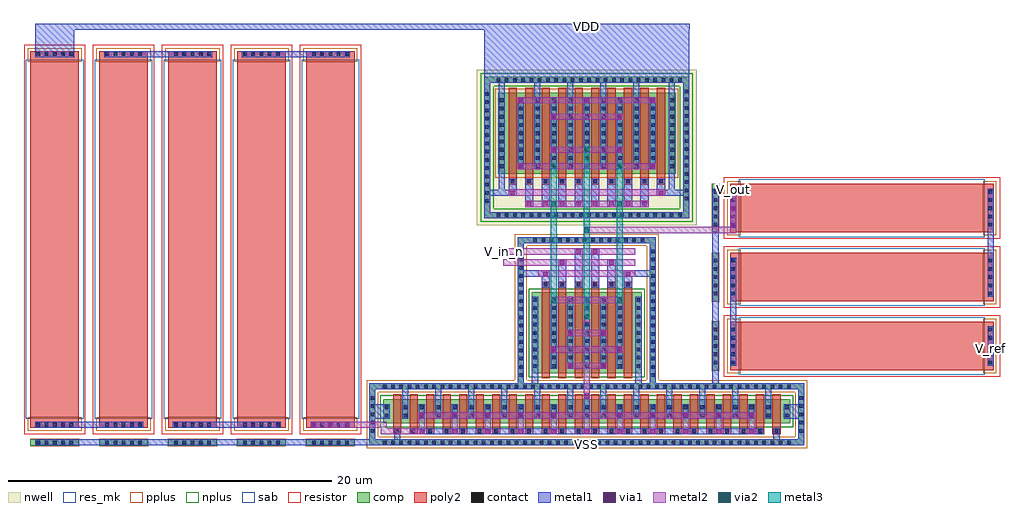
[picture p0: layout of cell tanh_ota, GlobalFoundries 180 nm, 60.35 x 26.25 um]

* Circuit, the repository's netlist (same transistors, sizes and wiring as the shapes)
* NGSPICE file created from tanh_ota.ext - technology: gf180mcuD

.subckt tanh_ota V_ref VDD VSS V_out V_in_n V_in_p
X0 VDD a_6626_3940# a_6626_3940# VDD pfet_03v3 ad=1.3p pd=5.52u as=1.3p ps=5.52u w=5u l=0.5u
X1 a_1466_5327# a_614_799# VSS ppolyf_u_1k r_width=3u r_length=22u
X2 VSS a_4022_799# a_4022_799# VSS nfet_03v3 ad=0.39p pd=2.02u as=0.39p ps=2.02u w=1.5u l=0.5u
X3 a_6626_3940# a_6626_3940# VDD VDD pfet_03v3 ad=1.3p pd=5.52u as=1.3p ps=5.52u w=5u l=0.5u
X4 V_out V_in_n a_7238_1471# VSS nfet_03v3 ad=1.3p pd=5.52u as=1.3p ps=5.52u w=5u l=0.5u
X5 VSS a_4022_799# a_4022_799# VSS nfet_03v3 ad=0.39p pd=2.02u as=0.39p ps=2.02u w=1.5u l=0.5u
X6 a_3170_5327# a_2318_799# VSS ppolyf_u_1k r_width=3u r_length=22u
X7 a_4022_799# a_4022_799# VSS VSS nfet_03v3 ad=0.39p pd=2.02u as=0.39p ps=2.02u w=1.5u l=0.5u
X8 VSS a_4022_799# a_4022_799# VSS nfet_03v3 ad=0.39p pd=2.02u as=0.39p ps=2.02u w=1.5u l=0.5u
X9 V_out a_12396_2361# VSS ppolyf_u_1k r_width=3u r_length=15u
X10 VSS a_4022_799# a_4022_799# VSS nfet_03v3 ad=0.39p pd=2.02u as=0.39p ps=2.02u w=1.5u l=0.5u
X11 VDD a_614_799# VSS ppolyf_u_1k r_width=3u r_length=22u
X12 a_6626_3940# VDD VDD VDD pfet_03v3 ad=1.3p pd=5.52u as=3.25p ps=11.3u w=5u l=0.5u
X13 a_7238_1471# a_4022_799# VSS VSS nfet_03v3 ad=0.39p pd=2.02u as=0.39p ps=2.02u w=1.5u l=0.5u
X14 V_out a_6626_3940# VDD VDD pfet_03v3 ad=1.3p pd=5.52u as=1.3p ps=5.52u w=5u l=0.5u
X15 VDD a_6626_3940# V_out VDD pfet_03v3 ad=1.3p pd=5.52u as=1.3p ps=5.52u w=5u l=0.5u
X16 a_7238_1471# V_in_p a_6626_3940# VSS nfet_03v3 ad=1.3p pd=5.52u as=1.3p ps=5.52u w=5u l=0.5u
X17 a_6626_3940# V_in_p a_7238_1471# VSS nfet_03v3 ad=1.3p pd=5.52u as=1.3p ps=5.52u w=5u l=0.5u
X18 a_4022_799# a_4022_799# VSS VSS nfet_03v3 ad=0.39p pd=2.02u as=0.39p ps=2.02u w=1.5u l=0.5u
X19 VSS a_4022_799# a_7238_1471# VSS nfet_03v3 ad=0.39p pd=2.02u as=0.39p ps=2.02u w=1.5u l=0.5u
X20 VDD VDD a_6626_3940# VDD pfet_03v3 ad=3.25p pd=11.3u as=1.3p ps=5.52u w=5u l=0.5u
X21 VSS VSS VSS VSS nfet_03v3 ad=0.915p pd=4.22u as=17.29p ps=79.36u w=1.5u l=0.5u
X22 a_4022_799# a_4022_799# VSS VSS nfet_03v3 ad=0.39p pd=2.02u as=0.39p ps=2.02u w=1.5u l=0.5u
X23 a_4022_799# a_4022_799# VSS VSS nfet_03v3 ad=0.39p pd=2.02u as=0.39p ps=2.02u w=1.5u l=0.5u
X24 V_out a_6626_3940# VDD VDD pfet_03v3 ad=1.3p pd=5.52u as=1.3p ps=5.52u w=5u l=0.5u
X25 a_6626_3940# VSS VSS VSS nfet_03v3 ad=1.3p pd=5.52u as=3.05p ps=11.22u w=5u l=0.5u
X26 VSS a_4022_799# a_4022_799# VSS nfet_03v3 ad=0.39p pd=2.02u as=0.39p ps=2.02u w=1.5u l=0.5u
X27 VDD a_6626_3940# a_6626_3940# VDD pfet_03v3 ad=1.3p pd=5.52u as=1.3p ps=5.52u w=5u l=0.5u
X28 VSS a_4022_799# a_4022_799# VSS nfet_03v3 ad=0.39p pd=2.02u as=0.39p ps=2.02u w=1.5u l=0.5u
X29 a_7238_1471# V_in_n V_out VSS nfet_03v3 ad=1.3p pd=5.52u as=1.3p ps=5.52u w=5u l=0.5u
X30 a_4022_799# a_4022_799# VSS VSS nfet_03v3 ad=0.39p pd=2.02u as=0.39p ps=2.02u w=1.5u l=0.5u
X31 a_6626_3940# a_6626_3940# VDD VDD pfet_03v3 ad=1.3p pd=5.52u as=1.3p ps=5.52u w=5u l=0.5u
X32 a_9268_1509# V_ref VSS ppolyf_u_1k r_width=3u r_length=15u
X33 VSS a_4022_799# a_4022_799# VSS nfet_03v3 ad=0.39p pd=2.02u as=0.39p ps=2.02u w=1.5u l=0.5u
X34 a_1466_5327# a_2318_799# VSS ppolyf_u_1k r_width=3u r_length=22u
X35 a_9268_1509# a_12396_2361# VSS ppolyf_u_1k r_width=3u r_length=15u
X36 VSS a_4022_799# a_4022_799# VSS nfet_03v3 ad=0.39p pd=2.02u as=0.39p ps=2.02u w=1.5u l=0.5u
X37 a_4022_799# a_4022_799# VSS VSS nfet_03v3 ad=0.39p pd=2.02u as=0.39p ps=2.02u w=1.5u l=0.5u
X38 a_4022_799# a_4022_799# VSS VSS nfet_03v3 ad=0.39p pd=2.02u as=0.39p ps=2.02u w=1.5u l=0.5u
X39 a_3170_5327# a_4022_799# VSS ppolyf_u_1k r_width=3u r_length=22u
X40 VDD a_6626_3940# V_out VDD pfet_03v3 ad=1.3p pd=5.52u as=1.3p ps=5.52u w=5u l=0.5u
X41 VSS VSS a_6626_3940# VSS nfet_03v3 ad=3.05p pd=11.22u as=1.3p ps=5.52u w=5u l=0.5u
X42 a_4022_799# a_4022_799# VSS VSS nfet_03v3 ad=0.39p pd=2.02u as=0.39p ps=2.02u w=1.5u l=0.5u
X43 VSS a_4022_799# a_4022_799# VSS nfet_03v3 ad=0.39p pd=2.02u as=0.39p ps=2.02u w=1.5u l=0.5u
X44 VSS a_4022_799# a_4022_799# VSS nfet_03v3 ad=0.39p pd=2.02u as=0.39p ps=2.02u w=1.5u l=0.5u
X45 a_4022_799# a_4022_799# VSS VSS nfet_03v3 ad=0.39p pd=2.02u as=0.39p ps=2.02u w=1.5u l=0.5u
X46 VSS VSS VSS VSS nfet_03v3 ad=0.39p pd=2.02u as=0 ps=0 w=1.5u l=0.5u
X47 a_4022_799# a_4022_799# VSS VSS nfet_03v3 ad=0.39p pd=2.02u as=0.39p ps=2.02u w=1.5u l=0.5u
.ends

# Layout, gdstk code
from math import pi, radians
import gdstk
lib = gdstk.Library(unit=1e-6, precision=5e-09)
def R(c, l, rs):  # rectangles x0, y0, x1, y1
    for r in rs: c.add(gdstk.rectangle(r[:2], r[2:], *l))
def A(c, l, x, y, w, h, nx, ny, dx, dy):  # array of equal rectangles
    R(c, l, [(x+i*dx, y+j*dy, x+i*dx+w, y+j*dy+h) for i in range(nx) for j in range(ny)])
def P(c, l, *ps):  # polygons
    for p in ps: c.add(gdstk.Polygon(p, *l))
nwell = (21, 0)
comp = (22, 0)
poly2 = (30, 0)
pplus = (31, 0)
nplus = (32, 0)
contact = (33, 0)
metal1 = (34, 0)
via1 = (35, 0)
metal2 = (36, 0)
via2 = (38, 0)
metal3 = (42, 0)
sab = (49, 0)
resistor = (62, 0)
res_mk = (110, 5)

nfet = lib.new_cell('nfet')
R(nfet, comp, [(-0.42,0,0,1.5), (0,0,24.34,1.5), (24.34,0,24.76,1.5)])
P(nfet, comp, [(-1.28,-1.36),(-1.28,2.11),(-0.9,2.11),(-0.9,-0.98),(25.24,-0.98),(25.24,2.11),(-1.28,2.11),(-1.28,2.49),(25.62,2.49),(25.62,-1.36)])
A(nfet, poly2, 0.19, -0.66, 0.5, 0.36, 24, 1, 1.02, 0)
A(nfet, poly2, 0.19, -0.3, 0.5, 2.1, 24, 1, 1.02, 0)
P(nfet, pplus, [(-1.45,-1.53),(-1.45,1.94),(-0.73,1.94),(-0.73,-0.81),(25.07,-0.81),(25.07,1.94),(-1.45,1.94),(-1.45,2.66),(25.79,2.66),(25.79,-1.53)])
R(nfet, nplus, [(-0.59,-0.24,24.93,1.74)])
A(nfet, contact, -0.435, -1.28, 0.22, 0.22, 50, 2, 0.51, 3.47)
A(nfet, contact, 0.33, -0.59, 0.22, 0.22, 24, 1, 1.02, 0)
A(nfet, contact, -1.2, -0.565, 0.22, 0.22, 1, 5, 0, 0.51)
A(nfet, contact, 25.32, -0.565, 0.22, 0.22, 1, 5, 0, 0.51)
A(nfet, contact, 0.84, 0.385, 0.22, 0.22, 23, 2, 1.02, 0.51)
R(nfet, contact, [(-0.32,0.385,-0.1,0.605), (24.44,0.385,24.66,0.605), (-0.32,0.895,-0.1,1.115), (24.44,0.895,24.66,1.115)])
A(nfet, metal1, 0.25, -0.67, 0.38, 0.38, 24, 1, 1.02, 0)
A(nfet, metal1, 0.76, 0.305, 0.38, 0.89, 23, 1, 1.02, 0)
R(nfet, metal1, [(-0.4,0.305,-0.02,1.195), (24.36,0.305,24.74,1.195)])

ppolyf_u_high_rs_resisto = lib.new_cell('ppolyf_u_high_Rs_resistor')
R(ppolyf_u_high_rs_resisto, comp, [(-1.76,0,-1.34,3)])
R(ppolyf_u_high_rs_resisto, poly2, [(-0.64,0,22.64,3)])
R(ppolyf_u_high_rs_resisto, pplus, [(-0.82,-0.18,0,3.18), (22,-0.18,22.82,3.18), (-1.78,-0.02,-1.32,3.02)])
A(ppolyf_u_high_rs_resisto, contact, -1.66, 0.37, 0.22, 0.22, 1, 5, 0, 0.51)
A(ppolyf_u_high_rs_resisto, contact, -0.57, 0.37, 0.22, 0.22, 1, 5, 0, 0.51)
A(ppolyf_u_high_rs_resisto, contact, 22.35, 0.37, 0.22, 0.22, 1, 5, 0, 0.51)
R(ppolyf_u_high_rs_resisto, metal1, [(-1.74,0.29,-1.36,2.71), (-0.65,0.29,-0.27,2.71), (22.27,0.29,22.65,2.71)])
R(ppolyf_u_high_rs_resisto, sab, [(-0.1,-0.28,22.1,3.28)])
R(ppolyf_u_high_rs_resisto, resistor, [(-1.04,-0.4,23.04,3.4)])
R(ppolyf_u_high_rs_resisto, res_mk, [(0,0,22,3)])

c_ppolyf_u_high_rs_resisto = lib.new_cell('ppolyf_u_high_Rs_resistor$2')
R(c_ppolyf_u_high_rs_resisto, comp, [(-1.76,0,-1.34,3)])
R(c_ppolyf_u_high_rs_resisto, poly2, [(-0.64,0,15.64,3)])
R(c_ppolyf_u_high_rs_resisto, pplus, [(-0.82,-0.18,0,3.18), (15,-0.18,15.82,3.18), (-1.78,-0.02,-1.32,3.02)])
A(c_ppolyf_u_high_rs_resisto, contact, -1.66, 0.37, 0.22, 0.22, 1, 5, 0, 0.51)
A(c_ppolyf_u_high_rs_resisto, contact, -0.57, 0.37, 0.22, 0.22, 1, 5, 0, 0.51)
A(c_ppolyf_u_high_rs_resisto, contact, 15.35, 0.37, 0.22, 0.22, 1, 5, 0, 0.51)
R(c_ppolyf_u_high_rs_resisto, metal1, [(-1.74,0.29,-1.36,2.71), (-0.65,0.29,-0.27,2.71), (15.27,0.29,15.65,2.71)])
R(c_ppolyf_u_high_rs_resisto, sab, [(-0.1,-0.28,15.1,3.28)])
R(c_ppolyf_u_high_rs_resisto, resistor, [(-1.04,-0.4,16.04,3.4)])
R(c_ppolyf_u_high_rs_resisto, res_mk, [(0,0,15,3)])

tanh_ota = lib.new_cell('tanh_ota')
R(tanh_ota, nwell, [(30.68,16.51,44.26,26.13)])
R(tanh_ota, comp, [(34.06,7.355,34.48,12.355), (34.48,7.355,40.46,12.355), (40.46,7.355,40.88,12.355), (31.98,19.7,32.44,24.7), (32.44,19.7,42.5,24.7), (42.5,19.7,42.96,24.7)])
P(tanh_ota, comp, [(33.2,6.365),(33.2,15.405),(33.58,15.405),(33.58,6.745),(41.36,6.745),(41.36,15.405),(33.2,15.405),(33.2,15.785),(41.74,15.785),(41.74,6.365)],
  [(31.12,16.95),(31.12,25.31),(31.5,25.31),(31.5,17.33),(43.44,17.33),(43.44,25.31),(31.12,25.31),(31.12,25.69),(43.82,25.69),(43.82,16.95)])
A(tanh_ota, poly2, 34.67, 7.055, 0.5, 5.6, 6, 1, 1.02, 0)
A(tanh_ota, poly2, 34.67, 12.655, 0.5, 0.36, 6, 1, 1.02, 0)
A(tanh_ota, poly2, 32.63, 19.02, 0.5, 0.38, 10, 1, 1.02, 0)
A(tanh_ota, poly2, 32.63, 19.4, 0.5, 5.6, 10, 1, 1.02, 0)
R(tanh_ota, pplus, [(31.81,19.46,43.13,24.94)])
P(tanh_ota, pplus, [(33.03,6.195),(33.03,15.235),(33.75,15.235),(33.75,6.915),(41.19,6.915),(41.19,15.235),(33.03,15.235),(33.03,15.955),(41.91,15.955),(41.91,6.195)])
R(tanh_ota, nplus, [(33.89,7.115,41.05,12.595)])
A(tanh_ota, contact, 34.045, 6.445, 0.22, 0.22, 14, 1, 0.51, 0)
A(tanh_ota, contact, 33.28, 7.14, 0.22, 0.22, 1, 16, 0, 0.51)
A(tanh_ota, contact, 41.44, 7.14, 0.22, 0.22, 1, 16, 0, 0.51)
A(tanh_ota, contact, 34.16, 7.705, 0.22, 0.22, 1, 9, 0, 0.51)
A(tanh_ota, contact, 35.32, 7.705, 0.22, 0.22, 5, 9, 1.02, 0.51)
A(tanh_ota, contact, 40.56, 7.705, 0.22, 0.22, 1, 9, 0, 0.51)
A(tanh_ota, contact, 34.81, 12.725, 0.22, 0.22, 6, 1, 1.02, 0)
A(tanh_ota, contact, 34.17, 15.485, 0.22, 0.22, 14, 1, 0.51, 0)
A(tanh_ota, contact, 31.895, 17.03, 0.22, 0.22, 23, 2, 0.51, 8.36)
A(tanh_ota, contact, 31.2, 17.895, 0.22, 0.22, 1, 14, 0, 0.51)
A(tanh_ota, contact, 43.52, 18.045, 0.22, 0.22, 1, 14, 0, 0.51)
A(tanh_ota, contact, 32.77, 19.1, 0.22, 0.22, 10, 1, 1.02, 0)
A(tanh_ota, contact, 32.1, 20.05, 0.22, 0.22, 1, 9, 0, 0.51)
A(tanh_ota, contact, 33.28, 20.05, 0.22, 0.22, 9, 9, 1.02, 0.51)
A(tanh_ota, contact, 42.62, 20.05, 0.22, 0.22, 1, 9, 0, 0.51)
A(tanh_ota, metal1, 35.24, 7.625, 0.38, 4.46, 5, 1, 1.02, 0)
A(tanh_ota, metal1, 34.73, 12.645, 0.38, 0.38, 6, 1, 1.02, 0)
A(tanh_ota, metal1, 33.65, 17.64, 0.5, 1.76, 8, 1, 1.02, 0)
A(tanh_ota, metal1, 32.69, 19.02, 0.38, 0.38, 10, 1, 1.02, 0)
A(tanh_ota, metal1, 33.2, 19.97, 0.38, 4.46, 9, 1, 1.02, 0)
R(tanh_ota, metal1, [(3.36,2.895,22.82,3.275), (25.55,3.275,25.93,3.965), (49.01,3.275,49.39,3.965), (26.57,3.585,48.37,3.965), (3.36,3.985,10.04,4.365), (11.88,3.985,18.56,4.365), (24.02,4.56,25.28,5.45), (49.66,4.56,50.92,5.45), (34.08,7.625,34.46,12.085), (40.48,7.625,40.86,12.085), (45.24,7.835,45.62,18.775), (46.33,7.835,46.71,14.515), (62.25,12.095,62.63,18.775), (34.67,12.645,35.17,13.715), (35.69,12.645,36.19,14.405), (36.71,12.645,37.21,15.095), (37.73,12.645,38.23,15.095), (38.75,12.645,39.25,14.405), (39.77,12.645,40.27,13.715), (32.63,18.33,33.13,19.4), (41.81,18.33,42.31,19.4), (32.02,19.97,32.4,24.43), (42.54,19.97,42.92,24.43), (31.12,25.31,43.82,28.97), (3.36,26.905,5.78,28.97), (7.62,26.905,14.3,27.285), (16.14,26.905,22.82,27.285)])
A(tanh_ota, via1, 27.14, 3.65, 0.26, 0.26, 6, 1, 2.04, 0)
A(tanh_ota, via1, 39.385, 3.65, 0.26, 0.26, 5, 1, 2.04, 0)
A(tanh_ota, via1, 20.46, 4.045, 0.26, 0.26, 3, 1, 1.02, 0)
A(tanh_ota, via1, 27.14, 4.62, 0.26, 0.26, 5, 1, 2.04, 0)
A(tanh_ota, via1, 39.38, 4.62, 0.26, 0.26, 5, 1, 2.04, 0)
A(tanh_ota, via1, 46.39, 16.395, 0.26, 0.26, 1, 3, 0, 1.02)
A(tanh_ota, via1, 33.77, 17.71, 0.26, 0.26, 8, 1, 1.02, 0)
A(tanh_ota, via1, 33.26, 20.03, 0.26, 0.26, 3, 2, 4.08, 4.085)
R(tanh_ota, via1, [(37.34,5.8,37.6,6.06), (36.32,7.685,36.58,7.945), (38.36,7.685,38.62,7.945), (35.3,8.705,35.56,8.965), (39.375,8.705,39.635,8.965), (36.32,9.72,36.58,9.98), (38.36,9.72,38.62,9.98), (37.34,10.745,37.6,11.005), (35.3,11.765,35.56,12.025), (39.375,11.765,39.635,12.025), (34.79,13.385,35.05,13.645), (39.89,13.385,40.15,13.645), (35.81,14.075,36.07,14.335), (38.87,14.075,39.13,14.335), (36.83,14.765,37.09,15.025), (37.85,14.765,38.11,15.025), (32.75,18.4,33.01,18.66), (41.93,18.4,42.19,18.66), (35.3,21.055,35.56,21.315), (39.375,21.055,39.635,21.315), (35.305,23.09,35.565,23.35), (39.38,23.09,39.64,23.35)])
A(tanh_ota, metal2, 27.08, 3.585, 0.38, 1.355, 6, 1, 2.04, 0)
A(tanh_ota, metal2, 39.325, 3.585, 0.38, 1.355, 5, 1, 2.04, 0)
R(tanh_ota, metal2, [(37.28,10.51,37.66,11.275), (34.48,13.315,40.475,13.715), (32.295,14.005,40.475,14.405), (32.295,14.695,40.475,15.095), (33.65,17.64,41.29,18.04), (32.63,18.33,42.31,18.73)])
R(tanh_ota, via2, [(37.34,10.745,37.6,11.005), (35.295,11.765,35.555,12.025), (39.375,11.765,39.635,12.025), (37.34,16.09,37.6,16.35), (35.3,17.71,35.56,17.97), (39.38,17.71,39.64,17.97), (35.3,20.03,35.56,20.29), (39.38,20.03,39.64,20.29), (37.34,21.05,37.6,21.31)])
tanh_ota.add(gdstk.FlexPath([(50.73,3.69),(50.73,6.555),(24.21,6.555),(24.21,3.085),(50.73,3.085),(50.73,3.69)], 0.38, ends="flush", simple_path=True, layer=34, datatype=0))  # metal1
tanh_ota.add(gdstk.FlexPath([(33.39,7.14),(33.39,15.595),(41.55,15.595),(41.55,6.745)], 0.38, ends="flush", simple_path=True, layer=34, datatype=0))  # metal1
tanh_ota.add(gdstk.FlexPath([(33.39,7.14),(33.39,6.745)], 0.38, ends="flush", simple_path=True, layer=34, datatype=0))  # metal1
tanh_ota.add(gdstk.FlexPath([(26.25,5.45),(26.25,6.365)], 0.38, ends="flush", simple_path=True, layer=34, datatype=0))  # metal1
tanh_ota.add(gdstk.FlexPath([(28.29,5.45),(28.29,6.365)], 0.38, ends="flush", simple_path=True, layer=34, datatype=0))  # metal1
tanh_ota.add(gdstk.FlexPath([(30.33,5.45),(30.33,6.365)], 0.38, ends="flush", simple_path=True, layer=34, datatype=0))  # metal1
tanh_ota.add(gdstk.FlexPath([(32.37,5.45),(32.37,6.365)], 0.38, ends="flush", simple_path=True, layer=34, datatype=0))  # metal1
tanh_ota.add(gdstk.FlexPath([(34.41,5.45),(34.41,6.365)], 0.38, ends="flush", simple_path=True, layer=34, datatype=0))  # metal1
tanh_ota.add(gdstk.FlexPath([(36.45,5.45),(36.45,6.365)], 0.38, ends="flush", simple_path=True, layer=34, datatype=0))  # metal1
tanh_ota.add(gdstk.FlexPath([(38.49,5.45),(38.49,6.365)], 0.38, ends="flush", simple_path=True, layer=34, datatype=0))  # metal1
tanh_ota.add(gdstk.FlexPath([(40.53,5.45),(40.53,6.365)], 0.38, ends="flush", simple_path=True, layer=34, datatype=0))  # metal1
tanh_ota.add(gdstk.FlexPath([(42.57,5.45),(42.57,6.365)], 0.38, ends="flush", simple_path=True, layer=34, datatype=0))  # metal1
tanh_ota.add(gdstk.FlexPath([(44.61,5.45),(44.61,6.365)], 0.38, ends="flush", simple_path=True, layer=34, datatype=0))  # metal1
tanh_ota.add(gdstk.FlexPath([(46.65,5.45),(46.65,6.365)], 0.38, ends="flush", simple_path=True, layer=34, datatype=0))  # metal1
tanh_ota.add(gdstk.FlexPath([(48.69,5.45),(48.69,6.365)], 0.38, ends="flush", simple_path=True, layer=34, datatype=0))  # metal1
tanh_ota.add(gdstk.FlexPath([(37.47,5.45),(37.47,6.11)], 0.38, ends="flush", simple_path=True, layer=34, datatype=0))  # metal1
tanh_ota.add(gdstk.FlexPath([(34.27,7.625),(34.27,6.745)], 0.38, ends="flush", simple_path=True, layer=34, datatype=0))  # metal1
tanh_ota.add(gdstk.FlexPath([(40.67,7.625),(40.67,6.745)], 0.38, ends="flush", simple_path=True, layer=34, datatype=0))  # metal1
tanh_ota.add(gdstk.FlexPath([(35.17,13.515),(33.2,13.515)], 0.4, ends="flush", simple_path=True, layer=34, datatype=0))  # metal1
tanh_ota.add(gdstk.FlexPath([(39.77,13.515),(41.74,13.515)], 0.4, ends="flush", simple_path=True, layer=34, datatype=0))  # metal1
tanh_ota.add(gdstk.FlexPath([(31.895,17.14),(43.63,17.14),(43.63,25.5),(31.31,25.5),(31.31,17.14),(31.895,17.14)], 0.38, ends="flush", simple_path=True, layer=34, datatype=0))  # metal1
tanh_ota.add(gdstk.FlexPath([(32.21,24.43),(32.21,25.31)], 0.38, ends="flush", simple_path=True, layer=34, datatype=0))  # metal1
tanh_ota.add(gdstk.FlexPath([(34.41,24.43),(34.41,25.31)], 0.38, ends="flush", simple_path=True, layer=34, datatype=0))  # metal1
tanh_ota.add(gdstk.FlexPath([(36.45,24.43),(36.45,25.31)], 0.38, ends="flush", simple_path=True, layer=34, datatype=0))  # metal1
tanh_ota.add(gdstk.FlexPath([(38.49,24.43),(38.49,25.31)], 0.38, ends="flush", simple_path=True, layer=34, datatype=0))  # metal1
tanh_ota.add(gdstk.FlexPath([(40.53,24.43),(40.53,25.31)], 0.38, ends="flush", simple_path=True, layer=34, datatype=0))  # metal1
tanh_ota.add(gdstk.FlexPath([(42.73,24.43),(42.73,25.31)], 0.38, ends="flush", simple_path=True, layer=34, datatype=0))  # metal1
tanh_ota.add(gdstk.FlexPath([(32.21,19.97),(32.21,18.53),(33.13,18.53)], 0.38, ends="flush", simple_path=True, layer=34, datatype=0))  # metal1
tanh_ota.add(gdstk.FlexPath([(42.73,19.97),(42.73,18.53),(41.81,18.53)], 0.38, ends="flush", simple_path=True, layer=34, datatype=0))  # metal1
tanh_ota.add(gdstk.FlexPath([(32.02,18.53),(31.12,18.53)], 0.38, ends="flush", simple_path=True, layer=34, datatype=0))  # metal1
tanh_ota.add(gdstk.FlexPath([(42.92,18.53),(43.82,18.53)], 0.38, ends="flush", simple_path=True, layer=34, datatype=0))  # metal1
tanh_ota.add(gdstk.FlexPath([(45.43,7.835),(45.43,6.365)], 0.38, ends="flush", simple_path=True, layer=34, datatype=0))  # metal1
tanh_ota.add(gdstk.FlexPath([(22.82,3.085),(24.4,3.085)], 0.38, ends="flush", simple_path=True, layer=34, datatype=0))  # metal1
tanh_ota.add(gdstk.FlexPath([(5.78,28.78),(43.825,28.78)], 0.38, ends="flush", simple_path=True, layer=34, datatype=0))  # metal1
tanh_ota.add(gdstk.FlexPath([(31.895,17.14),(43.63,17.14),(43.63,25.5),(31.31,25.5),(31.31,17.14),(31.895,17.14)], 0.8, ends="flush", simple_path=True, layer=32, datatype=0))  # nplus
tanh_ota.add(gdstk.FlexPath([(35.24,11.895),(39.7,11.895)], 0.4, ends="flush", simple_path=True, layer=36, datatype=0))  # metal2
tanh_ota.add(gdstk.FlexPath([(33.2,24.24),(41.74,24.24)], 0.38, ends="flush", simple_path=True, layer=36, datatype=0))  # metal2
tanh_ota.add(gdstk.FlexPath([(35.24,23.215),(39.7,23.215)], 0.38, ends="flush", simple_path=True, layer=36, datatype=0))  # metal2
tanh_ota.add(gdstk.FlexPath([(27.08,4.75),(47.86,4.75)], 0.38, ends="flush", simple_path=True, layer=36, datatype=0))  # metal2
tanh_ota.add(gdstk.FlexPath([(36.26,7.815),(38.68,7.815)], 0.38, ends="flush", simple_path=True, layer=36, datatype=0))  # metal2
tanh_ota.add(gdstk.FlexPath([(37.47,8.005),(37.47,5.755)], 0.38, ends="flush", simple_path=True, layer=36, datatype=0))  # metal2
tanh_ota.add(gdstk.FlexPath([(33.195,20.16),(41.735,20.16)], 0.38, ends="flush", simple_path=True, layer=36, datatype=0))  # metal2
tanh_ota.add(gdstk.FlexPath([(35.235,21.185),(39.695,21.185)], 0.38, ends="flush", simple_path=True, layer=36, datatype=0))  # metal2
tanh_ota.add(gdstk.FlexPath([(35.24,8.835),(39.7,8.835)], 0.4, ends="flush", simple_path=True, layer=36, datatype=0))  # metal2
tanh_ota.add(gdstk.FlexPath([(37.28,16.215),(46.71,16.215)], 0.38, ends="flush", simple_path=True, layer=36, datatype=0))  # metal2
tanh_ota.add(gdstk.FlexPath([(20.4,4.175),(24.905,4.175),(24.905,3.775),(27.46,3.775)], 0.38, ends="flush", simple_path=True, layer=36, datatype=0))  # metal2
tanh_ota.add(gdstk.FlexPath([(46.52,16.405),(46.52,18.775)], 0.38, ends="flush", simple_path=True, layer=36, datatype=0))  # metal2
tanh_ota.add(gdstk.FlexPath([(36.26,9.85),(38.68,9.85)], 0.38, ends="flush", simple_path=True, layer=36, datatype=0))  # metal2
tanh_ota.add(gdstk.FlexPath([(35.43,11.695),(35.43,20.35)], 0.38, ends="flush", simple_path=True, layer=42, datatype=0))  # metal3
tanh_ota.add(gdstk.FlexPath([(39.51,11.695),(39.51,20.35)], 0.38, ends="flush", simple_path=True, layer=42, datatype=0))  # metal3
tanh_ota.add(gdstk.FlexPath([(37.47,21.375),(37.47,10.7)], 0.38, ends="flush", simple_path=True, layer=42, datatype=0))  # metal3
tanh_ota.add(gdstk.Reference(nfet, (25.3,4.255)))
tanh_ota.add(gdstk.Reference(ppolyf_u_high_rs_resisto, (23.11,4.635), rotation=pi/2))
tanh_ota.add(gdstk.Reference(ppolyf_u_high_rs_resisto, (18.85,4.635), rotation=pi/2))
tanh_ota.add(gdstk.Reference(ppolyf_u_high_rs_resisto, (14.59,4.635), rotation=pi/2))
tanh_ota.add(gdstk.Reference(ppolyf_u_high_rs_resisto, (10.33,4.635), rotation=pi/2))
tanh_ota.add(gdstk.Reference(ppolyf_u_high_rs_resisto, (6.07,4.635), rotation=pi/2))
tanh_ota.add(gdstk.Reference(c_ppolyf_u_high_rs_resisto, (46.98,10.545), x_reflection=True))
tanh_ota.add(gdstk.Reference(c_ppolyf_u_high_rs_resisto, (46.98,14.805), x_reflection=True))
tanh_ota.add(gdstk.Reference(c_ppolyf_u_high_rs_resisto, (46.98,19.065), x_reflection=True))
tanh_ota.add(gdstk.Label('V_ref', (62.455,8.885), layer=34, texttype=10))
tanh_ota.add(gdstk.Label('VDD', (37.47,28.79), layer=34, texttype=10))
tanh_ota.add(gdstk.Label('VSS', (37.465,2.96), layer=34, texttype=10))
tanh_ota.add(gdstk.Label('V_out', (46.515,18.73), layer=36, texttype=10))
tanh_ota.add(gdstk.Label('V_in_n', (32.41,14.895), layer=36, texttype=10))
tanh_ota.add(gdstk.Label('V_in_p', (32.395,14.175), layer=36, texttype=10))

lib.write_gds('tanh_ota.gds')
